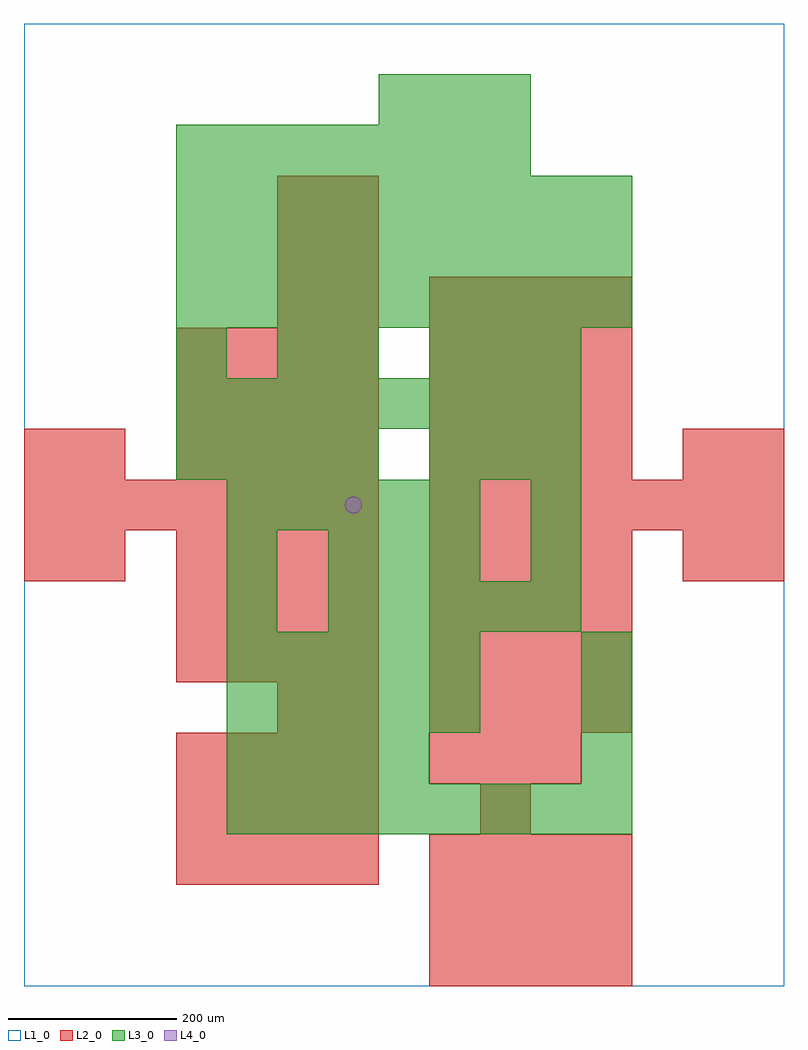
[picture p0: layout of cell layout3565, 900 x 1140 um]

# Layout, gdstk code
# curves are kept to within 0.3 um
import gdstk
lib = gdstk.Library(unit=1e-6, precision=1e-09)
def R(c, l, rs):  # rectangles x0, y0, x1, y1
    for r in rs: c.add(gdstk.rectangle(r[:2], r[2:], *l))
def A(c, l, x, y, w, h, nx, ny, dx, dy):  # array of equal rectangles
    R(c, l, [(x+i*dx, y+j*dy, x+i*dx+w, y+j*dy+h) for i in range(nx) for j in range(ny)])
def P(c, l, *ps):  # polygons
    for p in ps: c.add(gdstk.Polygon(p, *l))
L1_0 = (1, 0)
L2_0 = (2, 0)
L3_0 = (3, 0)
L4_0 = (4, 0)

layout3565 = lib.new_cell('layout3565')
R(layout3565, L1_0, [(0,0,900,1140)])
A(layout3565, L2_0, 480, 0, 60, 60, 4, 3, 60, 60)
A(layout3565, L2_0, 180, 120, 60, 60, 4, 3, 60, 60)
A(layout3565, L2_0, 480, 240, 60, 60, 3, 1, 60, 0)
A(layout3565, L2_0, 480, 300, 60, 60, 4, 4, 60, 60)
A(layout3565, L2_0, 180, 360, 60, 60, 4, 3, 60, 60)
A(layout3565, L2_0, 0, 540, 60, 60, 7, 1, 60, 0)
A(layout3565, L2_0, 480, 540, 60, 60, 7, 1, 60, 0)
A(layout3565, L2_0, 180, 600, 60, 60, 4, 3, 60, 60)
A(layout3565, L2_0, 480, 600, 60, 60, 4, 4, 60, 60)
A(layout3565, L2_0, 300, 780, 60, 60, 1, 3, 0, 60)
A(layout3565, L2_0, 360, 780, 60, 60, 1, 3, 0, 60)
R(layout3565, L2_0, [(540,180,600,240), (300,300,360,360), (360,300,420,360), (0,480,60,540), (60,480,120,540), (780,480,840,540), (840,480,900,540), (0,600,60,660), (60,600,120,660), (780,600,840,660), (840,600,900,660)])
A(layout3565, L3_0, 240, 180, 60, 60, 8, 1, 60, 0)
A(layout3565, L3_0, 240, 240, 60, 60, 4, 1, 60, 0)
A(layout3565, L3_0, 660, 240, 60, 60, 1, 3, 0, 60)
A(layout3565, L3_0, 240, 300, 60, 60, 5, 2, 60, 60)
A(layout3565, L3_0, 360, 420, 60, 60, 5, 1, 60, 0)
A(layout3565, L3_0, 360, 480, 60, 60, 3, 1, 60, 0)
A(layout3565, L3_0, 240, 540, 60, 60, 5, 1, 60, 0)
A(layout3565, L3_0, 180, 600, 60, 60, 4, 1, 60, 0)
A(layout3565, L3_0, 480, 600, 60, 60, 3, 2, 60, 120)
A(layout3565, L3_0, 180, 660, 60, 60, 8, 1, 60, 0)
A(layout3565, L3_0, 180, 780, 60, 60, 9, 3, 60, 60)
A(layout3565, L3_0, 180, 960, 60, 60, 7, 1, 60, 0)
A(layout3565, L3_0, 420, 1020, 60, 60, 3, 1, 60, 0)
R(layout3565, L3_0, [(240,420,300,480), (240,480,300,540), (600,480,660,540), (600,540,660,600), (180,720,240,780), (300,720,360,780), (360,720,420,780)])
P(layout3565, L4_0, [(400,570),(399.239,573.827),(397.071,577.071),(393.827,579.239),(390,580),(386.173,579.239),(382.929,577.071),(380.761,573.827),(380,570),(380.761,566.173),(382.929,562.929),(386.173,560.761),(390,560),(393.827,560.761),(397.071,562.929),(399.239,566.173)])

lib.write_gds('layout3565.gds')
